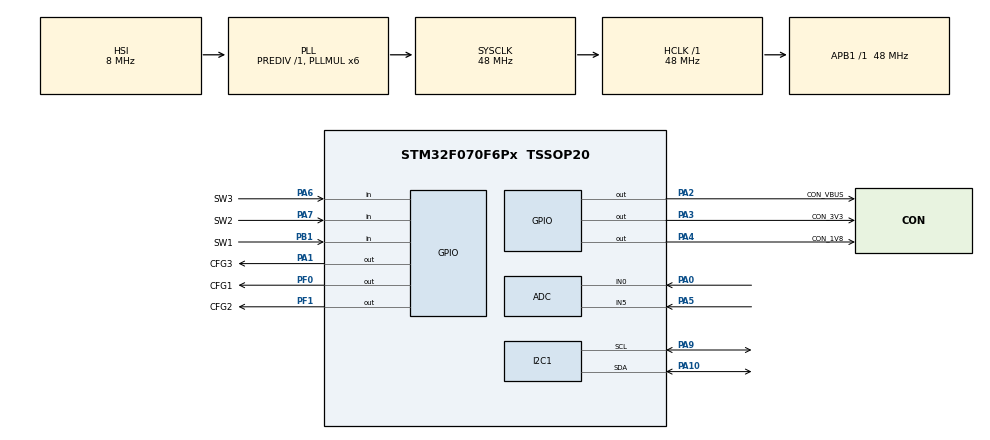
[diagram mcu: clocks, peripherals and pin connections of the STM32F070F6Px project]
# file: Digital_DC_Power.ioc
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ADC.SamplingTime=ADC_SAMPLETIME_239CYCLES_5
I2C1.I2C_Rise_Time=0
I2C1.Timing=0x00B0D1FF
Mcu.Family=STM32F0
Mcu.Name=STM32F070F6Px
Mcu.Package=TSSOP20
PA0.Mode=IN0
PA0.Signal=ADC_IN0
PA1.GPIO_Label=CFG3
PA1.Signal=GPIO_Output
PA10.Mode=I2C
PA10.Signal=I2C1_SDA
PA13.Mode=Serial_Wire
PA13.Signal=SYS_SWDIO
PA14.Mode=Serial_Wire
PA14.Signal=SYS_SWCLK
PA2.GPIO_Label=CON_VBUS
PA2.PinState=GPIO_PIN_SET
PA2.Signal=GPIO_Output
PA3.GPIO_Label=CON_3V3
PA3.PinState=GPIO_PIN_SET
PA3.Signal=GPIO_Output
PA4.GPIO_Label=CON_1V8
PA4.PinState=GPIO_PIN_SET
PA4.Signal=GPIO_Output
PA5.Mode=IN5
PA5.Signal=ADC_IN5
PA6.GPIO_Label=SW3
PA6.GPIO_PuPd=GPIO_PULLUP
PA6.Signal=GPIO_Input
PA7.GPIO_Label=SW2
PA7.GPIO_PuPd=GPIO_PULLUP
PA7.Signal=GPIO_Input
PA9.Mode=I2C
PA9.Signal=I2C1_SCL
PB1.GPIO_Label=SW1
PB1.GPIO_PuPd=GPIO_PULLUP
PB1.Signal=GPIO_Input
PF0-OSC_IN.GPIO_Label=CFG1
PF0-OSC_IN.PinState=GPIO_PIN_SET
PF0-OSC_IN.Signal=GPIO_Output
PF1-OSC_OUT.GPIO_Label=CFG2
PF1-OSC_OUT.Signal=GPIO_Output
ProjectManager.HeapSize=0x200
ProjectManager.StackSize=0x400
ProjectManager.TargetToolchain=STM32CubeIDE
RCC.AHBFreq_Value=48000000
RCC.APB1Freq_Value=48000000
RCC.APB1TimFreq_Value=48000000
RCC.HCLKFreq_Value=48000000
RCC.I2c1ClockSelection=RCC_I2C1CLKSOURCE_SYSCLK
RCC.PLLMUL=RCC_PLL_MUL6
RCC.SYSCLKFreq_VALUE=48000000
RCC.SYSCLKSource=RCC_SYSCLKSOURCE_PLLCLK
board=custom

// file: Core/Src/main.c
/* USER CODE BEGIN Header */
/**
  ******************************************************************************
  * @file           : main.c
  * @brief          : Main program body
  ******************************************************************************
  * @attention
  *
  * Copyright (c) 2026 STMicroelectronics.
  * All rights reserved.
  *
  * This software is licensed under terms that can be found in the LICENSE file
  * in the root directory of this software component.
  * If no LICENSE file comes with this software, it is provided AS-IS.
  *
  ******************************************************************************
  */
/* USER CODE END Header */
#include "main.h"
#include "adc.h"
#include "i2c.h"
#include "gpio.h"

/* USER CODE BEGIN Includes */
#include "oled.h"
/* USER CODE END Includes */

/* USER CODE BEGIN PTD */
typedef struct
{
  uint8_t  currentPage;    /* 当前页面 */
  uint8_t  isOpen;         /* ENABLE: 输出已开 / DISABLE: 已关 */
  uint8_t  setVolValue;    /* VOL_1V8 ... VOL_12V */
  uint16_t protectValue;   /* 过流阈值 mA */
} SystemParam;

enum
{
  POWER_PAGE = 0U,
  VOL_PAGE,
  CUR_PAGE
};

typedef enum
{
  PROT_NONE = 0U,
  PROT_OCP,
  PROT_UVP
} ProtectReason;
/* USER CODE END PTD */

/* USER CODE BEGIN PD */
#define SAMPLE_NUM    100U
#define SAMPLE_DROP   10U
/* 电压采样：R3=10K 上 / R6=3.3K 下，分压比 3.3/(10+3.3)=0.2481
 * ADC 满量程 3.3V 对应 VOUT = 3.3/0.2481 = 13.30V，故满量程取 13300mV */
#define VOL_FULL_MV   13300UL
#define CUR_FULL_MA   3300UL
#define ADC_FULL      4095UL
/* 开输出后屏蔽保护判断的时间，等光耦导通 + 电压建立 */
#define PROTECT_BLANK_MS  800U
/* 切档后电压显示静默期，等 PD 重新协商 + VBUS 泄放到目标档 */
#define VOL_SETTLE_MS     1200U

/* 保护阈值档位：可调范围 / 步进 / 1.8V 支路硬件上限 */
#define PROTECT_MAX_MA      1500U
#define PROTECT_MIN_MA      200U
#define PROTECT_STEP_MA     100U
#define PROTECT_1V8_MAX_MA  900U

/* 长按连发：按住多久开始连发、连发间隔 */
#define KEY_REPEAT_DELAY_MS 500U
#define KEY_REPEAT_RATE_MS  150U

/* 主循环节拍 */
#define SAMPLE_PERIOD_MS    50U
#define UI_REFRESH_MS       200U

/* 屏幕坐标：左标签 / 数值列 / 档位列 / 阈值列 */
#define UI_LABEL_X          0U
#define UI_VALUE_X          36U
#define UI_GEAR_X           96U
#define UI_THRESH_X         92U
/* 行（页）：每行 16px 占两页，四行正好铺满 64px */
#define UI_ROW_STATUS       0U
#define UI_ROW_VOL          2U
#define UI_ROW_CUR          4U
#define UI_ROW_PWR          6U
/* 每行的下半页：8px ASCII 数值与 16px 汉字底边对齐 */
#define UI_TXT_STATUS       1U
#define UI_TXT_VOL          3U
#define UI_TXT_CUR          5U
#define UI_TXT_PWR          7U
/* USER CODE END PD */

/* USER CODE BEGIN PV */
SystemParam systemparam;

/* 欠压阈值表：下标 = setVolValue - VOL_1V8 */
static const uint16_t underLimitMv[5] = {1000U, 2000U, 3000U, 5000U, 7000U};

static uint16_t adcVolBuf[SAMPLE_NUM];
static uint16_t adcCurBuf[SAMPLE_NUM];
static uint32_t volMv = 0U;
static uint32_t curMa = 0U;
static uint32_t powerMw = 0U;          /* 瞬时功率 mW */
static uint32_t energyUwh = 0U;        /* 累计能量 uWh */
static uint32_t lastEnergyTick = 0U;
static ProtectReason protectReason = PROT_NONE;
static uint32_t tripMa = 0U;           /* 保护动作瞬间的电流 */
static uint32_t tripMv = 0U;           /* 保护动作瞬间的电压 */
static uint32_t lastOpenTick = 0U;     /* 上次开启输出的时刻，用于保护静默期 */
static uint32_t volHoldStart = 0U;     /* 切档时刻，用于电压显示静默期 */
static uint8_t  repeatKey = NoPRESS;   /* 正在连发的按键 */
static uint32_t repeatStartTick = 0U;
static uint32_t lastRepeatTick = 0U;

/* 屏幕内容缓存：与上次发送的字符串比对，未变则不重发 */
static char uiVolStr[8] = {0};
static char uiCurStr[8] = {0};
static char uiThrStr[8] = {0};
static char uiPwrStr[8] = {0};
static char uiEngStr[12] = {0};
/* USER CODE END PV */

void SystemClock_Config(void);
/* USER CODE BEGIN PFP */
void KeyHandle(uint8_t key);
uint16_t FilterSample(uint16_t *buf, uint8_t len);
void SampleAndCalc(void);
void ProtectCheck(void);
void ProtectTrip(ProtectReason reason);
void DefaultShowUI(void);
void UpdateShowUI(uint8_t refresh);
void ShowProtectDetail(void);
void FormatVol(char *s, uint32_t mv);
void FormatMa(char *s, uint32_t ma);
void FormatPower(char *s);
void FormatEnergy(char *s);
const char *GearName(uint8_t vol);
void StepVol(int8_t dir);
void StepProtect(int8_t dir);
void RepeatHandle(void);
/* USER CODE END PFP */

int main(void)
{

  /* USER CODE BEGIN 1 */
  uint8_t  keyValue = NoPRESS;
  uint32_t lastSampleTick = 0U;
  uint32_t lastUiTick = 0U;
  /* USER CODE END 1 */

  /* MCU Configuration--------------------------------------------------------*/

  /* Reset of all peripherals, Initializes the Flash interface and the Systick. */
  HAL_Init();

  /* Configure the system clock */
  SystemClock_Config();

  /* Initialize all configured peripherals */
  MX_GPIO_Init();
  MX_ADC_Init();
  MX_I2C1_Init();
  /* USER CODE BEGIN 2 */
  if (HAL_ADCEx_Calibration_Start(&hadc) != HAL_OK)
  {
    Error_Handler();
  }

  systemparam.currentPage  = POWER_PAGE;
  systemparam.isOpen       = DISABLE;
  systemparam.setVolValue  = VOL_5V0;
  systemparam.protectValue = 1000U;
  lastEnergyTick = HAL_GetTick();

  setch224(VOL_5V0);
  ClosePowerSwitch();

  OLED_Init();
  DefaultShowUI();
  /* USER CODE END 2 */

  /* Infinite loop */
  while (1)
  {

    /* USER CODE BEGIN 3 */
    PowerSwitchPoll();
    keyValue = keyScanf();
    if (keyValue != NoPRESS)
    {
      KeyHandle(keyValue);
    }
    RepeatHandle();

    if ((HAL_GetTick() - lastSampleTick) >= SAMPLE_PERIOD_MS)
    {
      lastSampleTick = HAL_GetTick();
      SampleAndCalc();
      ProtectCheck();
    }

    if ((HAL_GetTick() - lastUiTick) >= UI_REFRESH_MS)
    {
      lastUiTick = HAL_GetTick();
      UpdateShowUI(0U);
    }
  }
  /* USER CODE END 3 */
}

void SystemClock_Config(void)
{
  RCC_OscInitTypeDef RCC_OscInitStruct = {0};
  RCC_ClkInitTypeDef RCC_ClkInitStruct = {0};
  RCC_PeriphCLKInitTypeDef PeriphClkInit = {0};

  /** Initializes the RCC Oscillators according to the specified parameters
  * in the RCC_OscInitTypeDef structure.
  */
  RCC_OscInitStruct.OscillatorType = RCC_OSCILLATORTYPE_HSI|RCC_OSCILLATORTYPE_HSI14;
  RCC_OscInitStruct.HSIState = RCC_HSI_ON;
  RCC_OscInitStruct.HSI14State = RCC_HSI14_ON;
  RCC_OscInitStruct.HSICalibrationValue = RCC_HSICALIBRATION_DEFAULT;
  RCC_OscInitStruct.HSI14CalibrationValue = 16;
  RCC_OscInitStruct.PLL.PLLState = RCC_PLL_ON;
  RCC_OscInitStruct.PLL.PLLSource = RCC_PLLSOURCE_HSI;
  RCC_OscInitStruct.PLL.PLLMUL = RCC_PLL_MUL6;
  RCC_OscInitStruct.PLL.PREDIV = RCC_PREDIV_DIV1;
  if (HAL_RCC_OscConfig(&RCC_OscInitStruct) != HAL_OK)
  {
    Error_Handler();
  }

  /** Initializes the CPU, AHB and APB buses clocks
  */
  RCC_ClkInitStruct.ClockType = RCC_CLOCKTYPE_HCLK|RCC_CLOCKTYPE_SYSCLK
                              |RCC_CLOCKTYPE_PCLK1;
  RCC_ClkInitStruct.SYSCLKSource = RCC_SYSCLKSOURCE_PLLCLK;
  RCC_ClkInitStruct.AHBCLKDivider = RCC_SYSCLK_DIV1;
  RCC_ClkInitStruct.APB1CLKDivider = RCC_HCLK_DIV1;

  if (HAL_RCC_ClockConfig(&RCC_ClkInitStruct, FLASH_LATENCY_1) != HAL_OK)
  {
    Error_Handler();
  }
  PeriphClkInit.PeriphClockSelection = RCC_PERIPHCLK_I2C1;
  PeriphClkInit.I2c1ClockSelection = RCC_I2C1CLKSOURCE_SYSCLK;
  if (HAL_RCCEx_PeriphCLKConfig(&PeriphClkInit) != HAL_OK)
  {
    Error_Handler();
  }
}

/* USER CODE BEGIN 4 */

/**
  * @brief  内容变化才发送，避免每 200ms 重刷同一行占用 I2C
  */
static void ShowIfChanged(uint8_t x, uint8_t page, const char *s, char *cache)
{
  uint8_t i = 0U;

  while ((s[i] != '\0') && (s[i] == cache[i]))
  {
    i++;
  }

  if ((s[i] == '\0') && (cache[i] == '\0'))
  {
    return;
  }

  OLED_ShowString(x, page, s, 0U);

  i = 0U;
  do
  {
    cache[i] = s[i];
  } while (s[i++] != '\0');
}

/**
  * @brief  清屏后缓存与屏幕不一致，必须同步作废
  */
static void UiCacheReset(void)
{
  uint8_t i;

  for (i = 0U; i < 12U; i++)
  {
    if (i < 8U)
    {
      uiVolStr[i] = '\0';
      uiCurStr[i] = '\0';
      uiThrStr[i] = '\0';
      uiPwrStr[i] = '\0';
    }
    uiEngStr[i] = '\0';
  }
}

void FormatVol(char *s, uint32_t mv)
{
  uint32_t v = mv / 10U;

  /* 十位为 0 时留空格，避免 5V 显示成 "05.00V" */
  s[0] = (v >= 1000U) ? (char)('0' + (v / 1000U) % 10U) : ' ';
  s[1] = (char)('0' + (v / 100U) % 10U);
  s[2] = '.';
  s[3] = (char)('0' + (v / 10U) % 10U);
  s[4] = (char)('0' + (v % 10U));
  s[5] = 'V';
  s[6] = '\0';
}

void FormatPower(char *s)
{
  uint32_t w  = powerMw / 1000U;
  uint32_t wf = (powerMw % 1000U) / 100U;   /* 0.1W 分辨率 */

  s[0] = (w >= 10U) ? (char)('0' + (w / 10U) % 10U) : ' ';
  s[1] = (char)('0' + (w % 10U));
  s[2] = '.';
  s[3] = (char)('0' + wf);
  s[4] = 'W';
  s[5] = '\0';
}

void FormatEnergy(char *s)
{
  uint32_t eWh = energyUwh / 1000000UL;
  uint32_t em  = (energyUwh % 1000000UL) / 10000UL;   /* 0.01Wh 分辨率 */

  s[0] = 'E';
  s[1] = (char)('0' + (eWh / 100U) % 10U);
  s[2] = (char)('0' + (eWh / 10U) % 10U);
  s[3] = (char)('0' + (eWh % 10U));
  s[4] = '.';
  s[5] = (char)('0' + (em / 10U) % 10U);
  s[6] = (char)('0' + (em % 10U));
  s[7] = 'W';
  s[8] = 'H';
  s[9] = '\0';
}

void FormatMa(char *s, uint32_t ma)
{
  s[0] = (ma >= 1000U) ? (char)('0' + (ma / 1000U) % 10U) : ' ';
  s[1] = (char)('0' + (ma / 100U) % 10U);
  s[2] = (char)('0' + (ma / 10U) % 10U);
  s[3] = (char)('0' + (ma % 10U));
  s[4] = 'M';
  s[5] = 'A';
  s[6] = '\0';
}

const char *GearName(uint8_t vol)
{
  switch (vol)
  {
    case VOL_1V8: return "1.8V";
    case VOL_3V3: return "3.3V";
    case VOL_5V0: return "5.0V";
    case VOL_9V0: return "9.0V";
    case VOL_12V: return "12.0V";
    default:      return "----";
  }
}

uint16_t FilterSample(uint16_t *buf, uint8_t len)
{
  uint8_t  i, j;
  uint16_t tmp;
  uint32_t sum = 0U;

  for (i = 0U; i < (uint8_t)(len - 1U); i++)
  {
    for (j = 0U; j < (uint8_t)(len - 1U - i); j++)
    {
      if (buf[j] > buf[j + 1U])
      {
        tmp = buf[j];
        buf[j] = buf[j + 1U];
        buf[j + 1U] = tmp;
      }
    }
  }

  for (i = SAMPLE_DROP; i < (uint8_t)(len - SAMPLE_DROP); i++)
  {
    sum += buf[i];
  }

  return (uint16_t)(sum / (uint32_t)(len - (2U * SAMPLE_DROP)));
}

void SampleAndCalc(void)
{
  uint16_t i;
  uint16_t volAvg;
  uint16_t curAvg;
  uint32_t now;
  uint32_t dt;

  for (i = 0U; i < SAMPLE_NUM; i++)
  {
    if (HAL_ADC_Start(&hadc) != HAL_OK)
    {
      HAL_ADC_Stop(&hadc);
      return;   /* 保留上一次有效结果，避免 0 值引发误保护 */
    }
    adcCurBuf[i] = getAdcValue();
    adcVolBuf[i] = getAdcValue();
    HAL_ADC_Stop(&hadc);
  }

  curAvg = FilterSample(adcCurBuf, SAMPLE_NUM);
  volAvg = FilterSample(adcVolBuf, SAMPLE_NUM);

  volMv = ((uint32_t)volAvg * VOL_FULL_MV) / ADC_FULL;
  curMa = ((uint32_t)curAvg * CUR_FULL_MA) / ADC_FULL;
  powerMw = (volMv * curMa) / 1000U;

  now = HAL_GetTick();
  dt = now - lastEnergyTick;
  lastEnergyTick = now;

  /* 只在输出开启且间隔正常时积分，防止阻塞后补算虚高 */
  if ((systemparam.isOpen == ENABLE) && (dt < 1000U))
  {
    energyUwh += (powerMw * dt) / 3600UL;
  }
}

void ProtectCheck(void)
{
  uint8_t  idx;
  uint32_t underLimit;

  if (systemparam.isOpen != ENABLE)
  {
    return;
  }

  /* 刚开输出时电压尚未建立，跳过判断，避免误触发欠压保护 */
  if ((HAL_GetTick() - lastOpenTick) < PROTECT_BLANK_MS)
  {
    return;
  }

  if (curMa > (uint32_t)systemparam.protectValue)
  {
    tripMa = curMa;
    tripMv = volMv;
    ProtectTrip(PROT_OCP);
    return;
  }

  idx = (uint8_t)(systemparam.setVolValue - VOL_1V8);
  underLimit = (idx < 5U) ? underLimitMv[idx] : 0U;

  if (volMv < underLimit)
  {
    tripMa = curMa;
    tripMv = volMv;
    ProtectTrip(PROT_UVP);
  }
}

void ProtectTrip(ProtectReason reason)
{
  ClosePowerSwitch();
  systemparam.isOpen = DISABLE;
  protectReason = reason;
  UpdateShowUI(1U);
}

void DefaultShowUI(void)
{
  OLED_Clear();
  UiCacheReset();
  UpdateShowUI(1U);
}

void UpdateShowUI(uint8_t refresh)
{
  char buf[24];

  if (refresh != 0U)
  {
    uint8_t invPow = (systemparam.currentPage == POWER_PAGE) ? 1U : 0U;
    uint8_t invVol = (systemparam.currentPage == VOL_PAGE) ? 1U : 0U;
    uint8_t invCur = (systemparam.currentPage == CUR_PAGE) ? 1U : 0U;
    const char *gear = GearName(systemparam.setVolValue);
    uint8_t gearLen = 0U;
    uint8_t gearX;

    OLED_ShowCN(UI_LABEL_X, UI_ROW_STATUS, CN_SHU, invPow);
    OLED_ShowCN(16U, UI_ROW_STATUS, CN_CHU, invPow);
    OLED_ShowCN(UI_LABEL_X, UI_ROW_VOL, CN_DIAN, invVol);
    OLED_ShowCN(16U, UI_ROW_VOL, CN_YA, invVol);
    OLED_ShowCN(UI_LABEL_X, UI_ROW_CUR, CN_DIAN, invCur);
    OLED_ShowCN(16U, UI_ROW_CUR, CN_LIU, invCur);
    OLED_ShowCN(UI_LABEL_X, UI_ROW_PWR, CN_GONG, 0U);
    OLED_ShowCN(16U, UI_ROW_PWR, CN_LV, 0U);

    /* 状态行右侧整段清空，保护详情直接画在同一行 */
    OLED_ClearBlock(UI_VALUE_X, UI_ROW_STATUS, 32U);
    OLED_ClearBlock(68U, UI_ROW_STATUS, 32U);
    OLED_ClearBlock(100U, UI_ROW_STATUS, 28U);
    OLED_ShowCN(UI_VALUE_X, UI_ROW_STATUS,
                (systemparam.isOpen == ENABLE) ? CN_KAI : CN_GUAN, 0U);

    while (gear[gearLen] != '\0')
    {
      gearLen++;
    }
    gearX = (uint8_t)(OLED_WIDTH - ((uint16_t)gearLen * OLED_CHAR_W));
    OLED_ClearBlock(UI_GEAR_X, UI_ROW_VOL, 32U);
    OLED_ShowString(gearX, UI_TXT_VOL, gear, 0U);

    ShowProtectDetail();
  }

  if ((volHoldStart != 0U) &&
      ((HAL_GetTick() - volHoldStart) < VOL_SETTLE_MS))
  {
    ShowIfChanged(UI_VALUE_X, UI_TXT_VOL, "--.--V", uiVolStr);
  }
  else
  {
    FormatVol(buf, volMv);
    ShowIfChanged(UI_VALUE_X, UI_TXT_VOL, buf, uiVolStr);
  }

  FormatMa(buf, curMa);
  ShowIfChanged(UI_VALUE_X, UI_TXT_CUR, buf, uiCurStr);

  FormatMa(buf, systemparam.protectValue);
  ShowIfChanged(UI_THRESH_X, UI_TXT_CUR, buf, uiThrStr);

  FormatPower(buf);
  ShowIfChanged(UI_VALUE_X, UI_TXT_PWR, buf, uiPwrStr);

  FormatEnergy(buf);
  ShowIfChanged(72U, UI_TXT_PWR, buf, uiEngStr);
}

void ShowProtectDetail(void)
{
  char buf[11];
  char tmp[8];
  uint8_t i;

  if (protectReason == PROT_NONE)
  {
    return;   /* 状态行右侧已被整体清空 */
  }

  if (protectReason == PROT_OCP)
  {
    FormatMa(tmp, tripMa);
    buf[0] = 'O'; buf[1] = 'C'; buf[2] = 'P'; buf[3] = ' ';
    for (i = 0U; i < 4U; i++)
    {
      buf[4U + i] = tmp[i];
    }
    buf[8] = 'M'; buf[9] = 'A';
  }
  else
  {
    FormatVol(tmp, tripMv);
    buf[0] = 'U'; buf[1] = 'V'; buf[2] = 'P'; buf[3] = ' ';
    for (i = 0U; i < 6U; i++)
    {
      buf[4U + i] = tmp[i];
    }
  }
  buf[10] = '\0';

  OLED_ShowString(56U, UI_TXT_STATUS, buf, 0U);
}

void KeyHandle(uint8_t key)
{
  if (key == SW1PRESS)
  {
    repeatKey = NoPRESS;
    systemparam.currentPage = (systemparam.currentPage >= CUR_PAGE)
                              ? POWER_PAGE
                              : (uint8_t)(systemparam.currentPage + 1U);
    UpdateShowUI(1U);
    return;
  }

  switch (systemparam.currentPage)
  {
    case POWER_PAGE:
      repeatKey = NoPRESS;
      if (key == SW2PRESS)
      {
        if (systemparam.isOpen == ENABLE)
        {
          ClosePowerSwitch();
          systemparam.isOpen = DISABLE;
        }
        else
        {
          protectReason = PROT_NONE;
          OpenPowerSwitch(systemparam.setVolValue);
          systemparam.isOpen = ENABLE;
          lastOpenTick = HAL_GetTick();
          volHoldStart = lastOpenTick;   /* 合闸前电压未知，先显示 --.--V */
        }
        UpdateShowUI(1U);
      }
      break;

    case VOL_PAGE:
      if (key == SW2PRESS)
      {
        StepVol(1);
      }
      else if (key == SW3PRESS)
      {
        StepVol(-1);
      }
      else
      {
        break;
      }
      repeatKey = key;
      repeatStartTick = HAL_GetTick();
      lastRepeatTick = repeatStartTick;
      break;

    case CUR_PAGE:
      if (key == SW2PRESS)
      {
        StepProtect(1);
      }
      else if (key == SW3PRESS)
      {
        StepProtect(-1);
      }
      else
      {
        break;
      }
      repeatKey = key;
      repeatStartTick = HAL_GetTick();
      lastRepeatTick = repeatStartTick;
      break;

    default:
      break;
  }
}

void StepVol(int8_t dir)
{
  if (dir > 0)
  {
    systemparam.setVolValue = (systemparam.setVolValue >= VOL_12V)
                              ? VOL_1V8
                              : (uint8_t)(systemparam.setVolValue + 1U);
  }
  else
  {
    systemparam.setVolValue = (systemparam.setVolValue <= VOL_1V8)
                              ? VOL_12V
                              : (uint8_t)(systemparam.setVolValue - 1U);
  }

  /* 1.8V 支路（TLV75718 限流 1.55A）能力有限，进入该档时压低保护阈值 */
  if ((systemparam.setVolValue == VOL_1V8) &&
      (systemparam.protectValue > PROTECT_1V8_MAX_MA))
  {
    systemparam.protectValue = PROTECT_1V8_MAX_MA;
  }

  volHoldStart = HAL_GetTick();
  if (systemparam.isOpen == ENABLE)
  {
    OpenPowerSwitch(systemparam.setVolValue);
    lastOpenTick = HAL_GetTick();
  }
  UpdateShowUI(1U);
}

void StepProtect(int8_t dir)
{
  uint16_t maxMa = (systemparam.setVolValue == VOL_1V8)
                   ? PROTECT_1V8_MAX_MA
                   : PROTECT_MAX_MA;

  if (dir > 0)
  {
    systemparam.protectValue = (systemparam.protectValue >= maxMa)
                               ? PROTECT_MIN_MA
                               : (uint16_t)(systemparam.protectValue + PROTECT_STEP_MA);
  }
  else
  {
    systemparam.protectValue = (systemparam.protectValue <= PROTECT_MIN_MA)
                               ? maxMa
                               : (uint16_t)(systemparam.protectValue - PROTECT_STEP_MA);
  }

  UpdateShowUI(0U);
}

void RepeatHandle(void)
{
  uint32_t now;

  if (repeatKey == NoPRESS)
  {
    return;
  }

  now = HAL_GetTick();

  if (keyHeld(repeatKey) == 0U)
  {
    repeatKey = NoPRESS;
    return;
  }

  if ((now - repeatStartTick) < KEY_REPEAT_DELAY_MS)
  {
    return;
  }

  if ((now - lastRepeatTick) < KEY_REPEAT_RATE_MS)
  {
    return;
  }

  lastRepeatTick = now;

  if (systemparam.currentPage == VOL_PAGE)
  {
    StepVol((repeatKey == SW2PRESS) ? 1 : -1);
  }
  else if (systemparam.currentPage == CUR_PAGE)
  {
    StepProtect((repeatKey == SW2PRESS) ? 1 : -1);
  }
  else
  {
    repeatKey = NoPRESS;
  }
}

/* USER CODE END 4 */

void Error_Handler(void)
{
  __disable_irq();
  while (1)
  {
  }
}
